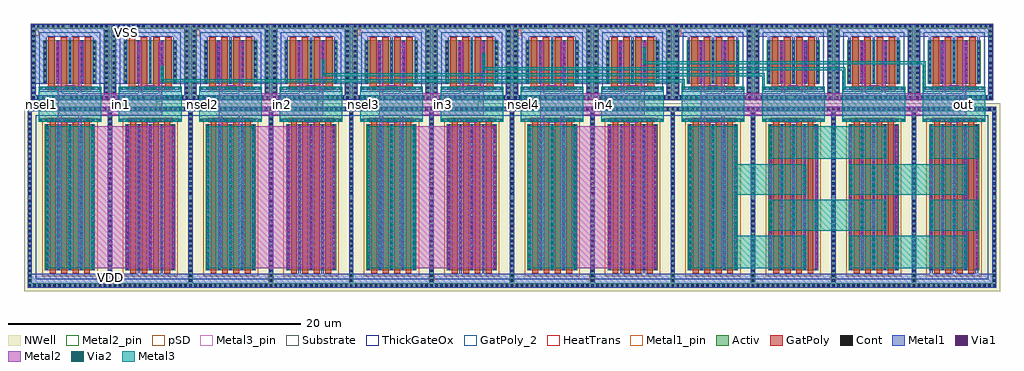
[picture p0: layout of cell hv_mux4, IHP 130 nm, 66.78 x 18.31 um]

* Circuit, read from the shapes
.subckt hv_mux4 VDD VSS in1 in2 in3 in4 nsel1 nsel2 nsel3 nsel4 out
XM1 hv_nor4_1/in1 nsel1 VSS VSS sg13_hv_nmos w=3u l=0.45u m=4
XM2 hv_nor4_1/in1 in1 VSS VSS sg13_hv_nmos w=3u l=0.45u m=4
XM3 hv_nor4_1/in2 nsel2 VSS VSS sg13_hv_nmos w=3u l=0.45u m=4
XM4 hv_nor4_1/in2 in2 VSS VSS sg13_hv_nmos w=3u l=0.45u m=4
XM5 hv_nor4_1/in3 nsel3 VSS VSS sg13_hv_nmos w=3u l=0.45u m=4
XM6 hv_nor4_1/in3 in3 VSS VSS sg13_hv_nmos w=3u l=0.45u m=4
XM7 hv_nor4_1/in4 nsel4 VSS VSS sg13_hv_nmos w=3u l=0.45u m=4
XM8 hv_nor4_1/in4 in4 VSS VSS sg13_hv_nmos w=3u l=0.45u m=4
XM9 out hv_nor4_1/in1 VSS VSS sg13_hv_nmos w=3u l=0.45u m=4
XM10 out hv_nor4_1/in2 VSS VSS sg13_hv_nmos w=3u l=0.45u m=4
XM11 out hv_nor4_1/in3 VSS VSS sg13_hv_nmos w=3u l=0.45u m=4
XM12 out hv_nor4_1/in4 VSS VSS sg13_hv_nmos w=3u l=0.45u m=4
XM13 hv_nor4_1/in1 nsel1 n1 VDD sg13_hv_pmos w=10u l=0.4u m=4
XM14 VDD in1 n1 VDD sg13_hv_pmos w=10u l=0.4u m=4
XM15 hv_nor4_1/in2 nsel2 n2 VDD sg13_hv_pmos w=10u l=0.4u m=4
XM16 VDD in2 n2 VDD sg13_hv_pmos w=10u l=0.4u m=4
XM17 hv_nor4_1/in3 nsel3 n3 VDD sg13_hv_pmos w=10u l=0.4u m=4
XM18 VDD in3 n3 VDD sg13_hv_pmos w=10u l=0.4u m=4
XM19 hv_nor4_1/in4 nsel4 n4 VDD sg13_hv_pmos w=10u l=0.4u m=4
XM20 VDD in4 n4 VDD sg13_hv_pmos w=10u l=0.4u m=4
XM21 out hv_nor4_1/in1 n5 VDD sg13_hv_pmos w=10u l=0.4u m=4
XM22 n5 hv_nor4_1/in2 n6 VDD sg13_hv_pmos w=10u l=0.4u m=4
XM23 n6 hv_nor4_1/in3 n7 VDD sg13_hv_pmos w=10u l=0.4u m=4
XM24 n7 hv_nor4_1/in4 VDD VDD sg13_hv_pmos w=10u l=0.4u m=4
.ends

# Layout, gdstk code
from math import pi, radians
import gdstk
lib = gdstk.Library(unit=1e-6, precision=1e-09)
def R(c, l, rs):  # rectangles x0, y0, x1, y1
    for r in rs: c.add(gdstk.rectangle(r[:2], r[2:], *l))
def A(c, l, x, y, w, h, nx, ny, dx, dy):  # array of equal rectangles
    R(c, l, [(x+i*dx, y+j*dy, x+i*dx+w, y+j*dy+h) for i in range(nx) for j in range(ny)])
def P(c, l, *ps):  # polygons
    for p in ps: c.add(gdstk.Polygon(p, *l))
Activ = (1, 0)
GatPoly = (5, 0)
GatPoly_2 = (5, 2)
Cont = (6, 0)
Metal1 = (8, 0)
Metal1_pin = (8, 2)
Metal2 = (10, 0)
Metal2_pin = (10, 2)
pSD = (14, 0)
Via1 = (19, 0)
Via2 = (29, 0)
Metal3 = (30, 0)
Metal3_pin = (30, 2)
NWell = (31, 0)
Substrate = (40, 0)
ThickGateOx = (44, 0)
HeatTrans = (51, 0)

via_stack_11 = lib.new_cell('via_stack$11')
R(via_stack_11, Metal1, [(-0.105,-1.375,0.105,1.375)])
R(via_stack_11, Metal2, [(-0.1,-1.375,0.1,1.375)])
A(via_stack_11, Via1, -0.095, -1.325, 0.19, 0.19, 1, 7, 0, 0.41)

nmoshv_2 = lib.new_cell('nmosHV$2')
A(nmoshv_2, Activ, 0, 0, 0.3, 0.3, 5, 1, 0.83, 0)
R(nmoshv_2, Activ, [(-0.84,-0.79,-0.54,3.79), (4.16,-0.79,4.46,3.79), (0,0,3.62,3), (-0.84,3.79,4.46,4.09)])
P(nmoshv_2, Activ, [(-0.84,-1.09),(-0.84,3.79),(-0.54,3.79),(-0.54,-0.79),(4.16,-0.79),(4.16,3.79),(-0.84,3.79),(-0.84,4.09),(4.46,4.09),(4.46,-1.09)])
A(nmoshv_2, GatPoly, 0.34, -0.18, 0.45, 3.36, 4, 1, 0.83, 0)
R(nmoshv_2, GatPoly_2, [(0.34,-0.18,0.79,3.18)])
A(nmoshv_2, Cont, -0.77, -1.02, 0.16, 0.16, 7, 2, 0.34, 4.88)
A(nmoshv_2, Cont, 1.85, -1.02, 0.16, 0.16, 8, 2, 0.34, 4.88)
A(nmoshv_2, Cont, -0.77, -0.68, 0.16, 0.16, 1, 6, 0, 0.34)
A(nmoshv_2, Cont, 4.23, -0.68, 0.16, 0.16, 1, 6, 0, 0.34)
A(nmoshv_2, Cont, 0.07, 0.07, 0.16, 0.16, 5, 7, 0.83, 0.385)
A(nmoshv_2, Cont, -0.77, 1.48, 0.16, 0.16, 1, 7, 0, 0.34)
A(nmoshv_2, Cont, 4.23, 1.48, 0.16, 0.16, 1, 7, 0, 0.34)
A(nmoshv_2, Cont, 0.07, 2.77, 0.16, 0.16, 5, 1, 0.83, 0)
A(nmoshv_2, Metal1, 0.07, 0, 0.16, 3, 5, 1, 0.83, 0)
R(nmoshv_2, Metal1, [(-0.84,-1.09,4.46,-0.79), (-0.84,-0.79,-0.54,3.79), (4.16,-0.79,4.46,3.79), (-0.84,3.79,4.46,4.09)])
R(nmoshv_2, Metal1_pin, [(0.07,0,0.23,3), (0.9,0,1.06,3)])
R(nmoshv_2, pSD, [(-0.87,-0.76,-0.51,3.76), (4.13,-0.76,4.49,3.76), (-0.87,3.76,4.49,4.12)])
P(nmoshv_2, pSD, [(-0.87,-1.12),(-0.87,3.76),(-0.51,3.76),(-0.51,-0.76),(4.13,-0.76),(4.13,3.76),(-0.87,3.76),(-0.87,4.12),(4.49,4.12),(4.49,-1.12)])
R(nmoshv_2, Substrate, [(-0.87,-0.76,-0.51,3.76), (4.13,-0.76,4.49,3.76), (-0.87,3.76,4.49,4.12)])
P(nmoshv_2, Substrate, [(-0.87,-1.12),(-0.87,3.76),(-0.51,3.76),(-0.51,-0.76),(4.13,-0.76),(4.13,3.76),(-0.87,3.76),(-0.87,4.12),(4.49,4.12),(4.49,-1.12)])
R(nmoshv_2, ThickGateOx, [(-0.27,-0.52,3.89,3.52)])
A(nmoshv_2, HeatTrans, 0.34, -0.18, 0.45, 3.36, 4, 1, 0.83, 0)
nmoshv_2.add(gdstk.Label('nmosHV', (0.565,1.5), layer=63, texttype=0))
nmoshv_2.add(gdstk.Label('sub!', (1.81,-0.94), layer=63, texttype=0))
nmoshv_2.add(gdstk.Label('nmosHV', (0.565,1.5), layer=51, texttype=0))
nmoshv_2.add(gdstk.Label('nmosHV', (1.395,1.5), layer=51, texttype=0))
nmoshv_2.add(gdstk.Label('nmosHV', (2.225,1.5), layer=51, texttype=0))
nmoshv_2.add(gdstk.Label('nmosHV', (3.055,1.5), layer=51, texttype=0))

via_stack_2_1 = lib.new_cell('via_stack$2$1')
R(via_stack_2_1, Metal1, [(-0.105,-4.86,0.105,4.86)])
R(via_stack_2_1, Metal2, [(-0.1,-4.86,0.1,4.86)])
A(via_stack_2_1, Via1, -0.095, -4.81, 0.19, 0.19, 1, 24, 0, 0.41)

via_stack_3_2 = lib.new_cell('via_stack$3$2')
R(via_stack_3_2, GatPoly, [(-0.15,-1.51,0.15,1.51)])
A(via_stack_3_2, Cont, -0.08, -1.44, 0.16, 0.16, 1, 9, 0, 0.34)
R(via_stack_3_2, Metal1, [(-0.08,-1.49,0.08,1.49)])

pmoshv_2 = lib.new_cell('pmosHV$2')
A(pmoshv_2, Activ, 0, 0, 0.3, 0.3, 5, 1, 0.78, 0)
R(pmoshv_2, Activ, [(-1.19,-0.89,-0.89,10.89), (4.31,-0.89,4.61,10.89), (0,0,3.42,10), (-1.19,10.89,4.61,11.19)])
P(pmoshv_2, Activ, [(-1.19,-1.19),(-1.19,10.89),(-0.89,10.89),(-0.89,-0.89),(4.31,-0.89),(4.31,10.89),(-1.19,10.89),(-1.19,11.19),(4.61,11.19),(4.61,-1.19)])
A(pmoshv_2, GatPoly, 0.34, -0.18, 0.4, 10.36, 4, 1, 0.78, 0)
R(pmoshv_2, GatPoly_2, [(0.34,-0.18,0.74,10.18)])
A(pmoshv_2, Cont, -1.12, -1.12, 0.16, 0.16, 8, 2, 0.34, 12.08)
A(pmoshv_2, Cont, 1.66, -1.12, 0.16, 0.16, 9, 2, 0.34, 12.08)
A(pmoshv_2, Cont, -1.12, -0.78, 0.16, 0.16, 1, 17, 0, 0.34)
A(pmoshv_2, Cont, 4.38, -0.78, 0.16, 0.16, 1, 17, 0, 0.34)
A(pmoshv_2, Cont, 0.07, 0.07, 0.16, 0.16, 5, 4, 0.78, 0.345)
A(pmoshv_2, Cont, 0.07, 1.455, 0.16, 0.16, 5, 3, 0.78, 0.345)
A(pmoshv_2, Cont, 0.07, 2.495, 0.16, 0.16, 5, 4, 0.78, 0.345)
A(pmoshv_2, Cont, 0.07, 3.88, 0.16, 0.16, 5, 3, 0.78, 0.345)
A(pmoshv_2, Cont, 0.07, 4.92, 0.16, 0.16, 5, 4, 0.78, 0.345)
A(pmoshv_2, Cont, -1.12, 5.18, 0.16, 0.16, 1, 17, 0, 0.34)
A(pmoshv_2, Cont, 4.38, 5.18, 0.16, 0.16, 1, 17, 0, 0.34)
A(pmoshv_2, Cont, 0.07, 6.305, 0.16, 0.16, 5, 3, 0.78, 0.345)
A(pmoshv_2, Cont, 0.07, 7.345, 0.16, 0.16, 5, 4, 0.78, 0.345)
A(pmoshv_2, Cont, 0.07, 8.73, 0.16, 0.16, 5, 3, 0.78, 0.345)
A(pmoshv_2, Cont, 0.07, 9.77, 0.16, 0.16, 5, 1, 0.78, 0)
A(pmoshv_2, Metal1, 0.07, 0, 0.16, 10, 5, 1, 0.78, 0)
R(pmoshv_2, Metal1, [(-1.19,-1.19,4.61,-0.89), (-1.19,-0.89,-0.89,10.89), (4.31,-0.89,4.61,10.89), (-1.19,10.89,4.61,11.19)])
R(pmoshv_2, Metal1_pin, [(0.07,0,0.23,10), (0.85,0,1.01,10)])
R(pmoshv_2, pSD, [(-0.18,-0.4,3.6,10.4)])
R(pmoshv_2, NWell, [(-1.43,-1.43,4.85,11.43), (-0.62,-0.62,4.04,10.62)])
R(pmoshv_2, Substrate, [(3.12,0,3.42,0.3)])
R(pmoshv_2, ThickGateOx, [(-0.62,-0.62,4.04,10.62)])
A(pmoshv_2, HeatTrans, 0.34, -0.18, 0.4, 10.36, 4, 1, 0.78, 0)
pmoshv_2.add(gdstk.Label('pmosHV', (0.54,5), layer=63, texttype=0))
pmoshv_2.add(gdstk.Label('well', (1.71,-1.04), layer=63, texttype=0))
pmoshv_2.add(gdstk.Label('pmos', (0.54,5), layer=51, texttype=0))
pmoshv_2.add(gdstk.Label('pmos', (1.32,5), layer=51, texttype=0))
pmoshv_2.add(gdstk.Label('pmos', (2.1,5), layer=51, texttype=0))
pmoshv_2.add(gdstk.Label('pmos', (2.88,5), layer=51, texttype=0))

via_stack_4 = lib.new_cell('via_stack$4')
R(via_stack_4, Metal1, [(-0.105,-0.35,0.105,0.35)])
R(via_stack_4, Metal2, [(-0.1,-0.35,0.1,0.35)])
R(via_stack_4, Via1, [(-0.095,-0.3,0.095,-0.11), (-0.095,0.11,0.095,0.3)])
R(via_stack_4, Via2, [(-0.095,-0.3,0.095,-0.11), (-0.095,0.11,0.095,0.3)])
R(via_stack_4, Metal3, [(-0.1,-0.35,0.1,0.35)])

via_stack_5 = lib.new_cell('via_stack$5')
R(via_stack_5, Metal1, [(-0.105,-0.555,0.105,0.555)])
R(via_stack_5, Metal2, [(-0.1,-0.555,0.1,0.555)])
A(via_stack_5, Via1, -0.095, -0.505, 0.19, 0.19, 1, 3, 0, 0.41)
A(via_stack_5, Via2, -0.095, -0.505, 0.19, 0.19, 1, 3, 0, 0.41)
R(via_stack_5, Metal3, [(-0.1,-0.555,0.1,0.555)])

via_stack_8_1 = lib.new_cell('via_stack$8$1')
R(via_stack_8_1, Metal1, [(-0.105,-4.86,0.105,4.86)])
R(via_stack_8_1, Metal2, [(-0.1,-4.86,0.1,4.86)])
A(via_stack_8_1, Via1, -0.095, -4.81, 0.19, 0.19, 1, 24, 0, 0.41)
A(via_stack_8_1, Via2, -0.095, -4.81, 0.19, 0.19, 1, 24, 0, 0.41)
R(via_stack_8_1, Metal3, [(-0.1,-4.86,0.1,4.86)])

hv_nor = lib.new_cell('hv_nor')
R(hv_nor, Activ, [(2.65,-5.47,2.85,-0.29)])
A(hv_nor, Metal1, -1.74, -4.6, 0.16, 0.22, 3, 1, 1.66, 0)
A(hv_nor, Metal1, 3.76, -4.6, 0.16, 0.22, 3, 1, 1.66, 0)
R(hv_nor, Metal1, [(2.65,-5.47,2.85,-0.29), (-2.35,-5.17,7.85,-4.6), (-2.35,-4.6,-1.74,-1.38), (1.74,-4.6,3.76,-1.38), (7.24,-4.6,7.85,-1.38), (-2.14,-1.2,2.14,-0.99), (3.36,-1.2,7.64,-0.99), (-2.14,0.99,2.14,1.2), (3.36,0.99,7.64,1.2), (4.64,11.38,4.8,11.6), (6.2,11.38,6.36,11.6), (-2.6,11.6,8.1,12.27)])
R(hv_nor, Metal1_pin, [(-2.52,-5.09,-2.12,-4.69), (2.55,11.69,2.95,12.09)])
R(hv_nor, Metal2, [(-0.82,-4.255,-0.56,11.24), (0.56,-4.255,0.82,11.24), (4.68,-4.255,4.94,0.755), (6.06,-4.255,6.32,0.755), (-0.35,-1.29,0.35,-0.995), (5.15,-1.29,5.85,-0.995), (-0.82,-0.755,6.32,0.755), (-0.35,0.995,0.35,1.29), (5.15,0.995,5.85,1.29), (1.46,1.52,7.16,11.24)])
R(hv_nor, Metal2_pin, [(5.92,-0.2,6.32,0.2)])
R(hv_nor, pSD, [(2.68,-5.5,2.82,-0.26)])
R(hv_nor, Metal3, [(-2.14,-1.195,2.14,1.195), (3.36,-1.195,7.64,1.195), (-1.66,1.52,1.66,11.24)])
R(hv_nor, Metal3_pin, [(-2.14,-0.2,-1.74,0.2), (3.36,-0.2,3.76,0.2)])
R(hv_nor, ThickGateOx, [(2.33,0.76,3.17,12)])
hv_nor.add(gdstk.Reference(via_stack_11, (-0.83,-2.88)))
hv_nor.add(gdstk.Reference(nmoshv_2, (-1.81,-4.38)))
hv_nor.add(gdstk.Reference(via_stack_11, (0.83,-2.88)))
hv_nor.add(gdstk.Reference(via_stack_2_1, (0.78,6.38), rotation=pi))
hv_nor.add(gdstk.Reference(via_stack_2_1, (-0.78,6.38), rotation=pi))
hv_nor.add(gdstk.Reference(via_stack_3_2, (0,-1.095), rotation=pi/2))
hv_nor.add(gdstk.Reference(via_stack_3_2, (0,1.095), rotation=pi/2))
hv_nor.add(gdstk.Reference(pmoshv_2, (-1.71,1.38)))
hv_nor.add(gdstk.Reference(via_stack_11, (4.67,-2.88)))
hv_nor.add(gdstk.Reference(via_stack_4, (0,-1.095), rotation=pi/2))
hv_nor.add(gdstk.Reference(via_stack_5, (-1.585,-1.095), rotation=pi/2))
hv_nor.add(gdstk.Reference(via_stack_5, (1.585,-1.095), rotation=pi/2))
hv_nor.add(gdstk.Reference(via_stack_4, (0,1.095), rotation=3*pi/2, x_reflection=True))
hv_nor.add(gdstk.Reference(via_stack_8_1, (-1.56,6.38), rotation=pi))
hv_nor.add(gdstk.Reference(via_stack_5, (-1.585,1.095), rotation=3*pi/2, x_reflection=True))
hv_nor.add(gdstk.Reference(via_stack_5, (1.585,1.095), rotation=3*pi/2, x_reflection=True))
hv_nor.add(gdstk.Reference(via_stack_8_1, (0,6.38), rotation=pi))
hv_nor.add(gdstk.Reference(via_stack_8_1, (1.56,6.38), rotation=pi))
hv_nor.add(gdstk.Reference(nmoshv_2, (3.69,-4.38)))
hv_nor.add(gdstk.Reference(via_stack_11, (6.33,-2.88)))
hv_nor.add(gdstk.Reference(via_stack_3_2, (5.5,-1.095), rotation=pi/2))
hv_nor.add(gdstk.Reference(pmoshv_2, (3.79,1.38)))
hv_nor.add(gdstk.Reference(via_stack_4, (5.5,-1.095), rotation=pi/2))
hv_nor.add(gdstk.Reference(via_stack_5, (3.915,-1.095), rotation=pi/2))
hv_nor.add(gdstk.Reference(via_stack_5, (7.085,-1.095), rotation=pi/2))
hv_nor.add(gdstk.Reference(via_stack_4, (5.5,1.095), rotation=3*pi/2, x_reflection=True))
hv_nor.add(gdstk.Reference(via_stack_2_1, (3.94,6.38), rotation=pi))
hv_nor.add(gdstk.Reference(via_stack_5, (3.915,1.095), rotation=3*pi/2, x_reflection=True))
hv_nor.add(gdstk.Reference(via_stack_5, (7.085,1.095), rotation=3*pi/2, x_reflection=True))
hv_nor.add(gdstk.Reference(via_stack_2_1, (5.5,6.38), rotation=pi))
hv_nor.add(gdstk.Reference(via_stack_2_1, (7.06,6.38), rotation=pi))
hv_nor.add(gdstk.Reference(via_stack_3_2, (5.5,1.095), rotation=pi/2))
hv_nor.add(gdstk.Label('out', (6.12,0), layer=10, texttype=25))
hv_nor.add(gdstk.Label('in2', (3.56,0), layer=30, texttype=25))
hv_nor.add(gdstk.Label('in1', (-1.94,0), layer=30, texttype=25))
hv_nor.add(gdstk.Label('VDD', (2.75,11.89), layer=8, texttype=25))
hv_nor.add(gdstk.Label('VSS', (-2.32,-4.89), layer=8, texttype=25))

via_stack_1 = lib.new_cell('via_stack$1')
R(via_stack_1, Metal1, [(-0.105,-4.86,0.105,4.86)])
R(via_stack_1, Metal2, [(-0.1,-4.86,0.1,4.86)])
A(via_stack_1, Via1, -0.095, -4.81, 0.19, 0.19, 1, 24, 0, 0.41)

pmoshv_3 = lib.new_cell('pmosHV$3')
A(pmoshv_3, Activ, 0, 0, 0.3, 0.3, 5, 1, 0.78, 0)
R(pmoshv_3, Activ, [(-1.19,-0.89,-0.89,10.89), (4.31,-0.89,4.61,10.89), (0,0,3.42,10), (-1.19,10.89,4.61,11.19)])
P(pmoshv_3, Activ, [(-1.19,-1.19),(-1.19,10.89),(-0.89,10.89),(-0.89,-0.89),(4.31,-0.89),(4.31,10.89),(-1.19,10.89),(-1.19,11.19),(4.61,11.19),(4.61,-1.19)])
A(pmoshv_3, GatPoly, 0.34, -0.18, 0.4, 10.36, 4, 1, 0.78, 0)
R(pmoshv_3, GatPoly_2, [(0.34,-0.18,0.74,10.18)])
A(pmoshv_3, Cont, -1.12, -1.12, 0.16, 0.16, 8, 2, 0.34, 12.08)
A(pmoshv_3, Cont, 1.66, -1.12, 0.16, 0.16, 9, 2, 0.34, 12.08)
A(pmoshv_3, Cont, -1.12, -0.78, 0.16, 0.16, 1, 17, 0, 0.34)
A(pmoshv_3, Cont, 4.38, -0.78, 0.16, 0.16, 1, 17, 0, 0.34)
A(pmoshv_3, Cont, 0.07, 0.07, 0.16, 0.16, 5, 4, 0.78, 0.345)
A(pmoshv_3, Cont, 0.07, 1.455, 0.16, 0.16, 5, 3, 0.78, 0.345)
A(pmoshv_3, Cont, 0.07, 2.495, 0.16, 0.16, 5, 4, 0.78, 0.345)
A(pmoshv_3, Cont, 0.07, 3.88, 0.16, 0.16, 5, 3, 0.78, 0.345)
A(pmoshv_3, Cont, 0.07, 4.92, 0.16, 0.16, 5, 4, 0.78, 0.345)
A(pmoshv_3, Cont, -1.12, 5.18, 0.16, 0.16, 1, 17, 0, 0.34)
A(pmoshv_3, Cont, 4.38, 5.18, 0.16, 0.16, 1, 17, 0, 0.34)
A(pmoshv_3, Cont, 0.07, 6.305, 0.16, 0.16, 5, 3, 0.78, 0.345)
A(pmoshv_3, Cont, 0.07, 7.345, 0.16, 0.16, 5, 4, 0.78, 0.345)
A(pmoshv_3, Cont, 0.07, 8.73, 0.16, 0.16, 5, 3, 0.78, 0.345)
A(pmoshv_3, Cont, 0.07, 9.77, 0.16, 0.16, 5, 1, 0.78, 0)
A(pmoshv_3, Metal1, 0.07, 0, 0.16, 10, 5, 1, 0.78, 0)
R(pmoshv_3, Metal1, [(-1.19,-1.19,4.61,-0.89), (-1.19,-0.89,-0.89,10.89), (4.31,-0.89,4.61,10.89), (-1.19,10.89,4.61,11.19)])
R(pmoshv_3, Metal1_pin, [(0.07,0,0.23,10), (0.85,0,1.01,10)])
R(pmoshv_3, pSD, [(-0.18,-0.4,3.6,10.4)])
R(pmoshv_3, NWell, [(-1.43,-1.43,4.85,11.43), (-0.62,-0.62,4.04,10.62)])
R(pmoshv_3, Substrate, [(3.12,0,3.42,0.3)])
R(pmoshv_3, ThickGateOx, [(-0.62,-0.62,4.04,10.62)])
A(pmoshv_3, HeatTrans, 0.34, -0.18, 0.4, 10.36, 4, 1, 0.78, 0)
pmoshv_3.add(gdstk.Label('pmosHV', (0.54,5), layer=63, texttype=0))
pmoshv_3.add(gdstk.Label('well', (1.71,-1.04), layer=63, texttype=0))
pmoshv_3.add(gdstk.Label('pmos', (0.54,5), layer=51, texttype=0))
pmoshv_3.add(gdstk.Label('pmos', (1.32,5), layer=51, texttype=0))
pmoshv_3.add(gdstk.Label('pmos', (2.1,5), layer=51, texttype=0))
pmoshv_3.add(gdstk.Label('pmos', (2.88,5), layer=51, texttype=0))

via_stack_5_1 = lib.new_cell('via_stack$5$1')
R(via_stack_5_1, Metal1, [(-0.105,-4.86,0.105,4.86)])
R(via_stack_5_1, Metal2, [(-0.1,-4.86,0.1,4.86)])
A(via_stack_5_1, Via1, -0.095, -4.81, 0.19, 0.19, 1, 24, 0, 0.41)
A(via_stack_5_1, Via2, -0.095, -4.81, 0.19, 0.19, 1, 24, 0, 0.41)
R(via_stack_5_1, Metal3, [(-0.1,-4.86,0.1,4.86)])

via_stack_12_1 = lib.new_cell('via_stack$12$1')
R(via_stack_12_1, Metal2, [(-0.1,-0.965,0.1,0.965)])
A(via_stack_12_1, Via2, -0.095, -0.915, 0.19, 0.19, 1, 5, 0, 0.41)
R(via_stack_12_1, Metal3, [(-0.1,-0.965,0.1,0.965)])

nmoshv_3 = lib.new_cell('nmosHV$3')
A(nmoshv_3, Activ, 0, 0, 0.3, 0.3, 5, 1, 0.83, 0)
R(nmoshv_3, Activ, [(-0.84,-0.79,-0.54,3.79), (4.16,-0.79,4.46,3.79), (0,0,3.62,3), (-0.84,3.79,4.46,4.09)])
P(nmoshv_3, Activ, [(-0.84,-1.09),(-0.84,3.79),(-0.54,3.79),(-0.54,-0.79),(4.16,-0.79),(4.16,3.79),(-0.84,3.79),(-0.84,4.09),(4.46,4.09),(4.46,-1.09)])
A(nmoshv_3, GatPoly, 0.34, -0.18, 0.45, 3.36, 4, 1, 0.83, 0)
R(nmoshv_3, GatPoly_2, [(0.34,-0.18,0.79,3.18)])
A(nmoshv_3, Cont, -0.77, -1.02, 0.16, 0.16, 7, 2, 0.34, 4.88)
A(nmoshv_3, Cont, 1.85, -1.02, 0.16, 0.16, 8, 2, 0.34, 4.88)
A(nmoshv_3, Cont, -0.77, -0.68, 0.16, 0.16, 1, 6, 0, 0.34)
A(nmoshv_3, Cont, 4.23, -0.68, 0.16, 0.16, 1, 6, 0, 0.34)
A(nmoshv_3, Cont, 0.07, 0.07, 0.16, 0.16, 5, 7, 0.83, 0.385)
A(nmoshv_3, Cont, -0.77, 1.48, 0.16, 0.16, 1, 7, 0, 0.34)
A(nmoshv_3, Cont, 4.23, 1.48, 0.16, 0.16, 1, 7, 0, 0.34)
A(nmoshv_3, Cont, 0.07, 2.77, 0.16, 0.16, 5, 1, 0.83, 0)
A(nmoshv_3, Metal1, 0.07, 0, 0.16, 3, 5, 1, 0.83, 0)
R(nmoshv_3, Metal1, [(-0.84,-1.09,4.46,-0.79), (-0.84,-0.79,-0.54,3.79), (4.16,-0.79,4.46,3.79), (-0.84,3.79,4.46,4.09)])
R(nmoshv_3, Metal1_pin, [(0.07,0,0.23,3), (0.9,0,1.06,3)])
R(nmoshv_3, pSD, [(-0.87,-0.76,-0.51,3.76), (4.13,-0.76,4.49,3.76), (-0.87,3.76,4.49,4.12)])
P(nmoshv_3, pSD, [(-0.87,-1.12),(-0.87,3.76),(-0.51,3.76),(-0.51,-0.76),(4.13,-0.76),(4.13,3.76),(-0.87,3.76),(-0.87,4.12),(4.49,4.12),(4.49,-1.12)])
R(nmoshv_3, Substrate, [(-0.87,-0.76,-0.51,3.76), (4.13,-0.76,4.49,3.76), (-0.87,3.76,4.49,4.12)])
P(nmoshv_3, Substrate, [(-0.87,-1.12),(-0.87,3.76),(-0.51,3.76),(-0.51,-0.76),(4.13,-0.76),(4.13,3.76),(-0.87,3.76),(-0.87,4.12),(4.49,4.12),(4.49,-1.12)])
R(nmoshv_3, ThickGateOx, [(-0.27,-0.52,3.89,3.52)])
A(nmoshv_3, HeatTrans, 0.34, -0.18, 0.45, 3.36, 4, 1, 0.83, 0)
nmoshv_3.add(gdstk.Label('nmosHV', (0.565,1.5), layer=63, texttype=0))
nmoshv_3.add(gdstk.Label('sub!', (1.81,-0.94), layer=63, texttype=0))
nmoshv_3.add(gdstk.Label('nmosHV', (0.565,1.5), layer=51, texttype=0))
nmoshv_3.add(gdstk.Label('nmosHV', (1.395,1.5), layer=51, texttype=0))
nmoshv_3.add(gdstk.Label('nmosHV', (2.225,1.5), layer=51, texttype=0))
nmoshv_3.add(gdstk.Label('nmosHV', (3.055,1.5), layer=51, texttype=0))

via_stack_4_1 = lib.new_cell('via_stack$4$1')
R(via_stack_4_1, Metal1, [(-0.105,-0.555,0.105,0.555)])
R(via_stack_4_1, Metal2, [(-0.1,-0.555,0.1,0.555)])
A(via_stack_4_1, Via1, -0.095, -0.505, 0.19, 0.19, 1, 3, 0, 0.41)
A(via_stack_4_1, Via2, -0.095, -0.505, 0.19, 0.19, 1, 3, 0, 0.41)
R(via_stack_4_1, Metal3, [(-0.1,-0.555,0.1,0.555)])

via_stack_12 = lib.new_cell('via_stack$12')
R(via_stack_12, Metal1, [(-0.105,-1.375,0.105,1.375)])
R(via_stack_12, Metal2, [(-0.1,-1.375,0.1,1.375)])
A(via_stack_12, Via1, -0.095, -1.325, 0.19, 0.19, 1, 7, 0, 0.41)

via_stack_2_2 = lib.new_cell('via_stack$2$2')
R(via_stack_2_2, GatPoly, [(-0.15,-1.51,0.15,1.51)])
A(via_stack_2_2, Cont, -0.08, -1.44, 0.16, 0.16, 1, 9, 0, 0.34)
R(via_stack_2_2, Metal1, [(-0.08,-1.49,0.08,1.49)])

via_stack_3_3 = lib.new_cell('via_stack$3$3')
R(via_stack_3_3, Metal1, [(-0.105,-0.35,0.105,0.35)])
R(via_stack_3_3, Metal2, [(-0.1,-0.35,0.1,0.35)])
R(via_stack_3_3, Via1, [(-0.095,-0.3,0.095,-0.11), (-0.095,0.11,0.095,0.3)])
R(via_stack_3_3, Via2, [(-0.095,-0.3,0.095,-0.11), (-0.095,0.11,0.095,0.3)])
R(via_stack_3_3, Metal3, [(-0.1,-0.35,0.1,0.35)])

hv_nor4 = lib.new_cell('hv_nor4')
A(hv_nor4, Activ, 2.65, -5.47, 0.2, 5.18, 3, 1, 5.5, 0)
A(hv_nor4, Metal1, 2.65, -5.47, 0.2, 5.18, 3, 1, 5.5, 0)
A(hv_nor4, Metal1, -2.35, -5.17, 4.7, 0.57, 4, 1, 5.5, 0)
A(hv_nor4, Metal1, -1.74, -4.6, 0.16, 0.22, 3, 1, 1.66, 0)
A(hv_nor4, Metal1, 3.76, -4.6, 0.16, 0.22, 3, 1, 1.66, 0)
A(hv_nor4, Metal1, 9.26, -4.6, 0.16, 0.22, 3, 1, 1.66, 0)
A(hv_nor4, Metal1, 14.76, -4.6, 0.16, 0.22, 3, 1, 1.66, 0)
A(hv_nor4, Metal1, -2.14, -1.2, 4.28, 0.21, 4, 2, 5.5, 2.19)
A(hv_nor4, Metal1, 14.835, 11.24, 0.21, 0.36, 3, 1, 1.56, 0)
A(hv_nor4, Metal1, -2.6, 11.6, 5.2, 0.67, 4, 1, 5.5, 0)
R(hv_nor4, Metal1_pin, [(-2.555,-5.09,-2.155,-4.69), (8.05,11.69,8.45,12.09)])
A(hv_nor4, Metal2, -0.35, -1.29, 0.7, 0.295, 4, 2, 5.5, 2.285)
A(hv_nor4, Metal2, 3.84, 1.52, 0.2, 9.72, 5, 1, 0.78, 0)
A(hv_nor4, Metal2, 9.34, 1.52, 0.2, 9.72, 5, 1, 0.78, 0)
A(hv_nor4, Metal2, 14.84, 1.52, 0.2, 9.72, 5, 1, 0.78, 0)
R(hv_nor4, Metal2, [(-0.82,-4.255,-0.56,11.24), (0.56,-4.255,0.82,11.24), (4.68,-4.255,4.94,0.755), (6.06,-4.255,6.32,0.755), (10.18,-4.255,10.44,0.755), (11.56,-4.255,11.82,0.755), (15.68,-4.255,15.94,0.755), (17.06,-4.255,17.32,0.755), (-0.82,-0.755,17.32,0.755)])
R(hv_nor4, Metal2_pin, [(16.92,-0.2,17.32,0.2)])
A(hv_nor4, pSD, 2.68, -5.5, 0.14, 5.24, 3, 1, 5.5, 0)
A(hv_nor4, Metal3, -2.14, -1.195, 4.28, 2.39, 4, 1, 5.5, 0)
R(hv_nor4, Metal3, [(-1.66,1.52,1.66,11.24), (3.84,1.52,7.16,3.74), (7.16,1.52,10.12,3.74), (10.12,1.52,11.88,3.74), (14.84,1.52,18.16,3.74), (1.66,4.1,4.62,6.2), (4.62,4.1,6.38,6.2), (9.34,4.1,12.66,6.2), (12.66,4.1,15.62,6.2), (15.62,4.1,17.38,6.2), (3.84,6.56,7.16,8.66), (7.16,6.56,10.12,8.66), (10.12,6.56,11.88,8.66), (14.84,6.56,18.16,8.66), (1.66,9.02,4.62,11.24), (4.62,9.02,6.38,11.24), (9.34,9.02,12.66,11.24), (12.66,9.02,15.62,11.24), (15.62,9.02,17.38,11.24)])
A(hv_nor4, Metal3_pin, -2.14, -0.2, 0.4, 0.4, 4, 1, 5.5, 0)
A(hv_nor4, ThickGateOx, 2.33, 0.76, 0.84, 11.24, 3, 1, 5.5, 0)
hv_nor4.add(gdstk.Reference(via_stack_1, (0.78,6.38), rotation=pi))
hv_nor4.add(gdstk.Reference(via_stack_1, (-0.78,6.38), rotation=pi))
hv_nor4.add(gdstk.Reference(pmoshv_3, (-1.71,1.38)))
hv_nor4.add(gdstk.Reference(via_stack_5_1, (-1.56,6.38), rotation=pi))
hv_nor4.add(gdstk.Reference(via_stack_5_1, (0,6.38), rotation=pi))
hv_nor4.add(gdstk.Reference(via_stack_5_1, (1.56,6.38), rotation=pi))
hv_nor4.add(gdstk.Reference(via_stack_1, (3.94,6.38), rotation=pi))
hv_nor4.add(gdstk.Reference(pmoshv_3, (3.79,1.38)))
hv_nor4.add(gdstk.Reference(via_stack_1, (4.72,6.38), rotation=pi))
hv_nor4.add(gdstk.Reference(via_stack_1, (5.5,6.38), rotation=pi))
hv_nor4.add(gdstk.Reference(via_stack_1, (6.28,6.38), rotation=pi))
hv_nor4.add(gdstk.Reference(via_stack_1, (7.06,6.38), rotation=pi))
hv_nor4.add(gdstk.Reference(via_stack_1, (9.44,6.38), rotation=pi, x_reflection=True))
hv_nor4.add(gdstk.Reference(via_stack_1, (14.94,6.38), rotation=pi))
hv_nor4.add(gdstk.Reference(pmoshv_3, (9.29,1.38)))
hv_nor4.add(gdstk.Reference(pmoshv_3, (14.79,1.38)))
hv_nor4.add(gdstk.Reference(via_stack_1, (10.22,6.38), rotation=pi, x_reflection=True))
hv_nor4.add(gdstk.Reference(via_stack_1, (15.72,6.38), rotation=pi))
hv_nor4.add(gdstk.Reference(via_stack_1, (11,6.38), rotation=pi, x_reflection=True))
hv_nor4.add(gdstk.Reference(via_stack_1, (16.5,6.38), rotation=pi))
hv_nor4.add(gdstk.Reference(via_stack_1, (11.78,6.38), rotation=pi, x_reflection=True))
hv_nor4.add(gdstk.Reference(via_stack_1, (17.28,6.38), rotation=pi))
hv_nor4.add(gdstk.Reference(via_stack_1, (12.56,6.38), rotation=pi, x_reflection=True))
hv_nor4.add(gdstk.Reference(via_stack_1, (18.06,6.38), rotation=pi))
hv_nor4.add(gdstk.Reference(via_stack_12_1, (14.94,7.61), rotation=pi))
hv_nor4.add(gdstk.Reference(via_stack_12_1, (15.72,10.07), rotation=pi))
hv_nor4.add(gdstk.Reference(via_stack_12_1, (11,5.15), rotation=pi, x_reflection=True))
hv_nor4.add(gdstk.Reference(via_stack_12_1, (16.5,7.61), rotation=pi))
hv_nor4.add(gdstk.Reference(via_stack_12_1, (17.28,10.07), rotation=pi))
hv_nor4.add(gdstk.Reference(via_stack_12_1, (12.56,5.15), rotation=pi, x_reflection=True))
hv_nor4.add(gdstk.Reference(via_stack_12_1, (18.06,7.61), rotation=pi))
hv_nor4.add(gdstk.Reference(via_stack_12_1, (11,10.07), rotation=pi, x_reflection=True))
hv_nor4.add(gdstk.Reference(via_stack_12_1, (11.78,7.61), rotation=pi, x_reflection=True))
hv_nor4.add(gdstk.Reference(via_stack_12_1, (17.28,5.15), rotation=pi))
hv_nor4.add(gdstk.Reference(via_stack_12_1, (12.56,10.07), rotation=pi, x_reflection=True))
hv_nor4.add(gdstk.Reference(via_stack_12_1, (10.22,7.61), rotation=pi, x_reflection=True))
hv_nor4.add(gdstk.Reference(via_stack_12_1, (15.72,5.15), rotation=pi))
hv_nor4.add(gdstk.Reference(via_stack_12_1, (9.44,10.07), rotation=pi, x_reflection=True))
hv_nor4.add(gdstk.Reference(via_stack_12_1, (9.44,5.15), rotation=pi, x_reflection=True))
hv_nor4.add(gdstk.Reference(via_stack_12_1, (4.72,10.07), rotation=pi))
hv_nor4.add(gdstk.Reference(via_stack_12_1, (5.5,7.61), rotation=pi))
hv_nor4.add(gdstk.Reference(via_stack_12_1, (6.28,10.07), rotation=pi))
hv_nor4.add(gdstk.Reference(via_stack_12_1, (7.06,7.61), rotation=pi))
hv_nor4.add(gdstk.Reference(via_stack_12_1, (6.28,5.15), rotation=pi))
hv_nor4.add(gdstk.Reference(via_stack_12_1, (4.72,5.15), rotation=pi))
hv_nor4.add(gdstk.Reference(via_stack_12_1, (3.94,7.61), rotation=pi))
hv_nor4.add(gdstk.Reference(nmoshv_3, (-1.81,-4.38)))
hv_nor4.add(gdstk.Reference(via_stack_4_1, (-1.585,1.095), rotation=3*pi/2, x_reflection=True))
hv_nor4.add(gdstk.Reference(via_stack_4_1, (1.585,1.095), rotation=3*pi/2, x_reflection=True))
hv_nor4.add(gdstk.Reference(via_stack_12, (0.83,-2.88)))
hv_nor4.add(gdstk.Reference(nmoshv_3, (3.69,-4.38)))
hv_nor4.add(gdstk.Reference(via_stack_12, (6.33,-2.88)))
hv_nor4.add(gdstk.Reference(via_stack_12, (-0.83,-2.88)))
hv_nor4.add(gdstk.Reference(via_stack_2_2, (5.5,-1.095), rotation=pi/2))
hv_nor4.add(gdstk.Reference(via_stack_2_2, (0,-1.095), rotation=pi/2))
hv_nor4.add(gdstk.Reference(via_stack_3_3, (5.5,-1.095), rotation=pi/2))
hv_nor4.add(gdstk.Reference(via_stack_4_1, (3.915,-1.095), rotation=pi/2))
hv_nor4.add(gdstk.Reference(via_stack_2_2, (0,1.095), rotation=pi/2))
hv_nor4.add(gdstk.Reference(via_stack_4_1, (7.085,-1.095), rotation=pi/2))
hv_nor4.add(gdstk.Reference(via_stack_3_3, (5.5,1.095), rotation=3*pi/2, x_reflection=True))
hv_nor4.add(gdstk.Reference(via_stack_4_1, (3.915,1.095), rotation=3*pi/2, x_reflection=True))
hv_nor4.add(gdstk.Reference(via_stack_4_1, (7.085,1.095), rotation=3*pi/2, x_reflection=True))
hv_nor4.add(gdstk.Reference(via_stack_12_1, (5.5,2.69), rotation=pi))
hv_nor4.add(gdstk.Reference(via_stack_2_2, (5.5,1.095), rotation=pi/2))
hv_nor4.add(gdstk.Reference(via_stack_12, (4.67,-2.88)))
hv_nor4.add(gdstk.Reference(via_stack_12_1, (7.06,2.69), rotation=pi))
hv_nor4.add(gdstk.Reference(via_stack_12_1, (3.94,2.69), rotation=pi))
hv_nor4.add(gdstk.Reference(via_stack_3_3, (0,-1.095), rotation=pi/2))
hv_nor4.add(gdstk.Reference(via_stack_4_1, (-1.585,-1.095), rotation=pi/2))
hv_nor4.add(gdstk.Reference(via_stack_4_1, (1.585,-1.095), rotation=pi/2))
hv_nor4.add(gdstk.Reference(via_stack_3_3, (0,1.095), rotation=3*pi/2, x_reflection=True))
hv_nor4.add(gdstk.Reference(via_stack_4_1, (9.415,-1.095), rotation=pi/2))
hv_nor4.add(gdstk.Reference(via_stack_4_1, (14.915,-1.095), rotation=pi/2))
hv_nor4.add(gdstk.Reference(via_stack_4_1, (12.585,-1.095), rotation=pi/2))
hv_nor4.add(gdstk.Reference(via_stack_4_1, (18.085,-1.095), rotation=pi/2))
hv_nor4.add(gdstk.Reference(via_stack_3_3, (11,1.095), rotation=3*pi/2, x_reflection=True))
hv_nor4.add(gdstk.Reference(via_stack_3_3, (16.5,1.095), rotation=3*pi/2, x_reflection=True))
hv_nor4.add(gdstk.Reference(via_stack_4_1, (9.415,1.095), rotation=3*pi/2, x_reflection=True))
hv_nor4.add(gdstk.Reference(via_stack_4_1, (14.915,1.095), rotation=3*pi/2, x_reflection=True))
hv_nor4.add(gdstk.Reference(via_stack_4_1, (12.585,1.095), rotation=3*pi/2, x_reflection=True))
hv_nor4.add(gdstk.Reference(via_stack_4_1, (18.085,1.095), rotation=3*pi/2, x_reflection=True))
hv_nor4.add(gdstk.Reference(via_stack_12_1, (18.06,2.69), rotation=pi))
hv_nor4.add(gdstk.Reference(via_stack_12_1, (14.94,2.69), rotation=pi))
hv_nor4.add(gdstk.Reference(nmoshv_3, (9.19,-4.38)))
hv_nor4.add(gdstk.Reference(via_stack_2_2, (11,1.095), rotation=pi/2))
hv_nor4.add(gdstk.Reference(via_stack_2_2, (16.5,1.095), rotation=pi/2))
hv_nor4.add(gdstk.Reference(nmoshv_3, (14.69,-4.38)))
hv_nor4.add(gdstk.Reference(via_stack_12_1, (10.22,2.69), rotation=pi, x_reflection=True))
hv_nor4.add(gdstk.Reference(via_stack_12, (11.83,-2.88)))
hv_nor4.add(gdstk.Reference(via_stack_12, (17.33,-2.88)))
hv_nor4.add(gdstk.Reference(via_stack_12_1, (11.78,2.69), rotation=pi, x_reflection=True))
hv_nor4.add(gdstk.Reference(via_stack_12_1, (16.5,2.69), rotation=pi))
hv_nor4.add(gdstk.Reference(via_stack_12, (10.17,-2.88)))
hv_nor4.add(gdstk.Reference(via_stack_12, (15.67,-2.88)))
hv_nor4.add(gdstk.Reference(via_stack_2_2, (11,-1.095), rotation=pi/2))
hv_nor4.add(gdstk.Reference(via_stack_2_2, (16.5,-1.095), rotation=pi/2))
hv_nor4.add(gdstk.Reference(via_stack_3_3, (11,-1.095), rotation=pi/2))
hv_nor4.add(gdstk.Reference(via_stack_3_3, (16.5,-1.095), rotation=pi/2))
hv_nor4.add(gdstk.Label('out', (17.12,0), layer=10, texttype=25))
hv_nor4.add(gdstk.Label('in2', (3.56,0), layer=30, texttype=25))
hv_nor4.add(gdstk.Label('in1', (-1.94,0), layer=30, texttype=25))
hv_nor4.add(gdstk.Label('in3', (9.06,0), layer=30, texttype=25))
hv_nor4.add(gdstk.Label('in4', (14.56,0), layer=30, texttype=25))
hv_nor4.add(gdstk.Label('VDD', (8.25,11.89), layer=8, texttype=25))
hv_nor4.add(gdstk.Label('VSS', (-2.355,-4.89), layer=8, texttype=25))

via = lib.new_cell('Via')
R(via, Metal2, [(-0.1,-0.555,0.1,0.555)])
A(via, Via2, -0.095, -0.505, 0.19, 0.19, 1, 3, 0, 0.41)
R(via, Metal3, [(-0.1,-0.555,0.1,0.555)])

hv_mux4 = lib.new_cell('hv_mux4')
A(hv_mux4, Activ, 11.32, 13.1, 0.2, 5.18, 4, 1, 11, 0)
A(hv_mux4, Metal1, 11.32, 13.1, 0.2, 5.18, 4, 1, 11, 0)
R(hv_mux4, Metal1_pin, [(5.72,0.72,6.12,1.12), (6.84,17.5,7.24,17.9)])
R(hv_mux4, Metal2_pin, [(64.09,12.61,64.49,13.01)])
A(hv_mux4, pSD, 11.35, 13.07, 0.14, 5.24, 4, 1, 11, 0)
A(hv_mux4, Metal3_pin, 1.03, 12.61, 0.4, 0.4, 8, 1, 5.5, 0)
A(hv_mux4, ThickGateOx, 11, 0.81, 0.84, 11.24, 4, 1, 11, 0)
hv_mux4.add(gdstk.FlexPath([(9.4,14.41),(45.13,14.41),(45.13,14.005)], 0.2, ends="flush", simple_path=True, layer=30, datatype=0))  # Metal3
hv_mux4.add(gdstk.FlexPath([(20.4,14.82),(50.63,14.82),(50.63,14.005)], 0.2, ends="flush", simple_path=True, layer=30, datatype=0))  # Metal3
hv_mux4.add(gdstk.FlexPath([(31.4,15.23),(56.13,15.23),(56.13,14.005)], 0.2, ends="flush", simple_path=True, layer=30, datatype=0))  # Metal3
hv_mux4.add(gdstk.FlexPath([(42.4,15.64),(61.63,15.64),(61.63,14.005)], 0.2, ends="flush", simple_path=True, layer=30, datatype=0))  # Metal3
hv_mux4.add(gdstk.Reference(hv_nor, (14.17,12.81), x_reflection=True))
hv_mux4.add(gdstk.Reference(hv_nor4, (47.17,12.81), x_reflection=True))
hv_mux4.add(gdstk.Reference(hv_nor, (25.17,12.81), x_reflection=True))
hv_mux4.add(gdstk.Reference(hv_nor, (36.17,12.81), x_reflection=True))
hv_mux4.add(gdstk.Reference(via, (9.5,14.87)))
hv_mux4.add(gdstk.Reference(hv_nor, (3.17,12.81), x_reflection=True))
hv_mux4.add(gdstk.Reference(via, (20.5,15.28)))
hv_mux4.add(gdstk.Reference(via, (31.5,15.69)))
hv_mux4.add(gdstk.Reference(via, (42.5,16.1)))
hv_mux4.add(gdstk.Label('out', (64.29,12.81), layer=10, texttype=25))
hv_mux4.add(gdstk.Label('in2', (17.73,12.81), layer=30, texttype=25))
hv_mux4.add(gdstk.Label('in3', (28.73,12.81), layer=30, texttype=25))
hv_mux4.add(gdstk.Label('in4', (39.73,12.81), layer=30, texttype=25))
hv_mux4.add(gdstk.Label('in1', (6.73,12.81), layer=30, texttype=25))
hv_mux4.add(gdstk.Label('nsel1', (1.23,12.81), layer=30, texttype=25))
hv_mux4.add(gdstk.Label('nsel2', (12.23,12.81), layer=30, texttype=25))
hv_mux4.add(gdstk.Label('nsel3', (23.23,12.81), layer=30, texttype=25))
hv_mux4.add(gdstk.Label('nsel4', (34.23,12.81), layer=30, texttype=25))
hv_mux4.add(gdstk.Label('VDD', (5.92,0.92), layer=8, texttype=25))
hv_mux4.add(gdstk.Label('VSS', (7.04,17.7), layer=8, texttype=25))

lib.write_gds('hv_mux4.gds')
